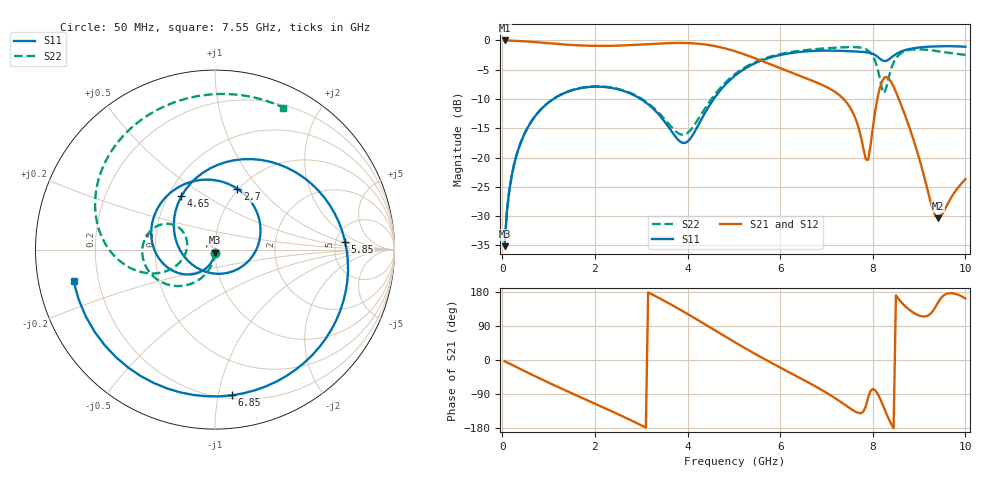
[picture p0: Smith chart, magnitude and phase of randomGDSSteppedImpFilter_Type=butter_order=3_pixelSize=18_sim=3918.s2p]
! freq	dB(S11)	phase(S11)	dB(S12)	phase(S12)
!  dB(S21)	phase(S21)	dB(S22)	phase(S22)
!S-par simulation data
#  GHz  S  DB  R 50
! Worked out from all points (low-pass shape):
!   200 points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, 50 MHz to 10 GHz, reference 50 ohm
!   highest |S21| = -0.01 dB at 50 MHz (marker M1); lowest = -30.3 dB at 9.4 GHz (marker M2)
!   |S21| within 3 dB of the highest: start of sweep to 5.444 GHz
!   lowest |S11| = -35.1 dB at 50 MHz (marker M3), VSWR 1.04, Z = 49.9 - j1.75 ohm
!   |S11| at or under -10 dB: start of sweep to 1.104 GHz; 2.991 GHz to 4.566 GHz (1.575 GHz wide, 41.7 % of centre)
!   |S22| runs from -35.1 to -1.1 dB; largest |S21 - S12| = 0
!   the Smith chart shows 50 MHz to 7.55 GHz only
!   S11 on the Smith chart (normalised r, x): 50 MHz: 1.00, -0.03; 2.7 GHz: 0.99, +0.77; 4.65 GHz: 0.59, +0.40; 5.85 GHz: 6.08, +1.16; 6.85 GHz: 0.22, -1.10; 7.55 GHz: 0.11, -0.11
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0.05  -35.12 -93.6  -0.01 -3.1  -0.01 -3.1  -35.11 -92.3
0.2  -23.23 -105.1  -0.04 -12.3  -0.04 -12.3  -23.21 -99.8
0.5  -15.62 -127.5  -0.16 -30.5  -0.16 -30.5  -15.59 -114.3
1.75  -8.07 142.9  -0.88 -101.5  -0.88 -101.5  -8.02 -166.8
2.7  -8.84 69.8  -0.83 -154.5  -0.83 -154.5  -8.77 161.3
3.4  -12.83 -1.1  -0.52 162.6  -0.52 162.6  -12.53 148.7
3.95  -17.49 -109.3  -0.44 125.2  -0.44 125.2  -16.03 179.7
4.65  -9.09 122.3  -1.06 74.1  -1.06 74.1  -8.64 -158.9
5.05  -5.86 77.9  -1.91 44.8  -1.91 44.8  -5.61 -172.0
5.85  -2.78 3.5  -4.26 -10.0  -4.26 -10.0  -2.63 153.8
6.7  -1.80 -69.4  -6.89 -65.3  -6.89 -65.3  -1.53 115.2
6.85  -1.75 -83.4  -7.39 -75.6  -7.39 -75.6  -1.43 107.8
7.2  -1.76 -120.4  -8.87 -101.8  -8.87 -101.8  -1.24 88.8
7.55  -1.86 -167.3  -12.00 -130.8  -12.00 -130.8  -1.13 64.3
7.9  -2.07 132.3  -20.39 -99.2  -20.39 -99.2  -1.74 21.2
8.15  -3.09 87.5  -8.16 -99.8  -8.16 -99.8  -6.39 -61.8
8.35  -3.22 66.0  -6.55 -157.0  -6.55 -157.0  -6.14 145.6
8.5  -2.35 47.5  -8.78 170.6  -8.78 170.6  -3.08 93.9
8.65  -1.78 28.7  -11.77 148.0  -11.77 148.0  -2.00 64.2
9  -1.21 -7.5  -20.07 117.3  -20.07 117.3  -1.52 16.9
9.4  -1.01 -38.0  -30.35 149.8  -30.35 149.8  -1.83 -29.8
10  -1.08 -71.8  -23.65 162.0  -23.65 162.0  -2.46 -100.2
